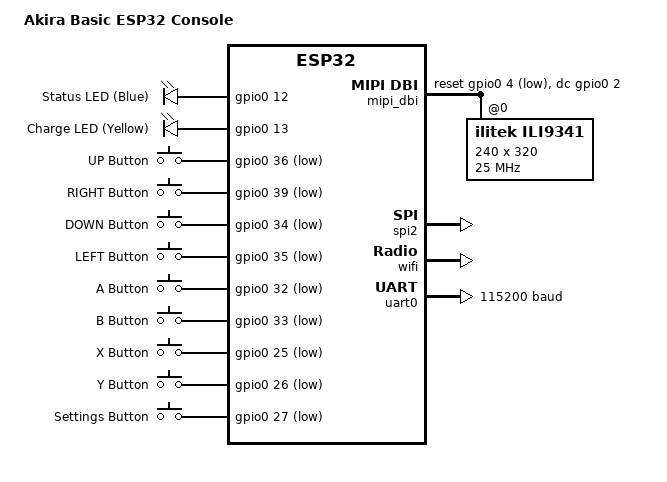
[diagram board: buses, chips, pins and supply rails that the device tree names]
// SPDX-License-Identifier: Apache-2.0

/dts-v1/;

#include <espressif/esp32/esp32_wrover_e_n4r8.dtsi>
#include "akira_basic_esp32-pinctrl.dtsi"

/ {
    model = "Akira Basic ESP32 Console";
    compatible = "akira,basic-esp32";

    chosen {
        zephyr,sram = &sram0;
        zephyr,console = &uart0;
        zephyr,shell-uart = &uart0;
        zephyr,flash = &flash0;
        zephyr,display = &ili9341;
    };

    aliases {
        led0 = &status_led;
        led1 = &charge_led;
        sw0 = &key_up;
        sw1 = &key_right;
        sw2 = &key_down;
        sw3 = &key_left;
        sw4 = &key_a;
        sw5 = &key_b;
        sw6 = &key_x;
        sw7 = &key_y;
        sw8 = &key_settings;
    };

    leds {
        compatible = "gpio-leds";
        status_led: status_led {
            gpios = <&gpio0 12 GPIO_ACTIVE_HIGH>;
            label = "Status LED (Blue)";
        };
        charge_led: charge_led {
            gpios = <&gpio0 13 GPIO_ACTIVE_HIGH>;
            label = "Charge LED (Yellow)";
        };
    };

    gpio_keys {
        compatible = "gpio-keys";
        
        key_up: key_up {
            gpios = <&gpio0 36 (GPIO_PULL_UP | GPIO_ACTIVE_LOW)>;
            label = "UP Button";
        };
        key_right: key_right {
            gpios = <&gpio0 39 (GPIO_PULL_UP | GPIO_ACTIVE_LOW)>;
            label = "RIGHT Button";
        };
        key_down: key_down {
            gpios = <&gpio0 34 (GPIO_PULL_UP | GPIO_ACTIVE_LOW)>;
            label = "DOWN Button";
        };
        key_left: key_left {
            gpios = <&gpio0 35 (GPIO_PULL_UP | GPIO_ACTIVE_LOW)>;
            label = "LEFT Button";
        };
        key_a: key_a {
            gpios = <&gpio0 32 (GPIO_PULL_UP | GPIO_ACTIVE_LOW)>;
            label = "A Button";
        };
        key_b: key_b {
            gpios = <&gpio0 33 (GPIO_PULL_UP | GPIO_ACTIVE_LOW)>;
            label = "B Button";
        };
        key_x: key_x {
            gpios = <&gpio0 25 (GPIO_PULL_UP | GPIO_ACTIVE_LOW)>;
            label = "X Button";
        };
        key_y: key_y {
            gpios = <&gpio0 26 (GPIO_PULL_UP | GPIO_ACTIVE_LOW)>;
            label = "Y Button";
        };
        key_settings: key_settings {
            gpios = <&gpio0 27 (GPIO_PULL_UP | GPIO_ACTIVE_LOW)>;
            label = "Settings Button";
        };
    };

    mipi_dbi {
        compatible = "zephyr,mipi-dbi-spi";
        spi-dev = <&spi2>;
        dc-gpios = <&gpio0 2 GPIO_ACTIVE_HIGH>;
        reset-gpios = <&gpio0 4 GPIO_ACTIVE_LOW>;
        #address-cells = <1>;
        #size-cells = <0>;

        ili9341: ili9341@0 {
            compatible = "ilitek,ili9341";
            reg = <0>;
            spi-max-frequency = <25000000>;
            width = <240>;
            height = <320>;
            rotation = <0>;
        };
    };
};

&spi2 {
    status = "okay";
    pinctrl-0 = <&spim2_default>;
    pinctrl-names = "default";
    
    cs-gpios = <&gpio0 5 GPIO_ACTIVE_LOW>,   // Display CS
               <&gpio0 17 GPIO_ACTIVE_LOW>,  // Touch CS  
               <&gpio0 15 GPIO_ACTIVE_LOW>;  // SD Card CS
};

&wifi {
    status = "okay";
};

&uart0 {
    status = "okay";
    current-speed = <115200>;
    pinctrl-0 = <&uart0_default>;
    pinctrl-names = "default";
};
